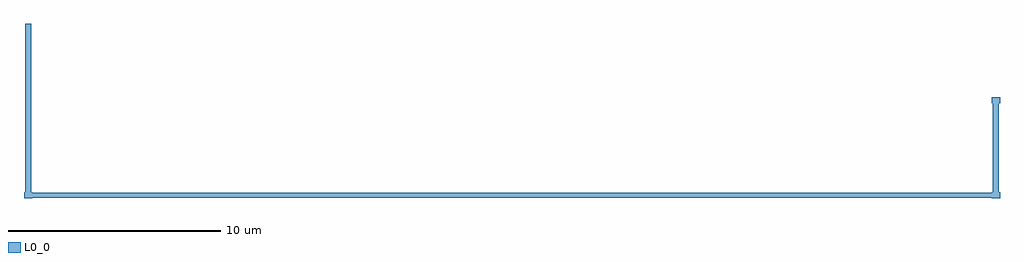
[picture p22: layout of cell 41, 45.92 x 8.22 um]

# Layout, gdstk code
import gdstk
lib = gdstk.Library(unit=1e-6, precision=1e-09)
def P(c, l, *ps):  # polygons
    for p in ps: c.add(gdstk.Polygon(p, *l))
L0_0 = (0, 0)

c_41 = lib.new_cell('41')
P(c_41, L0_0, [(1206.035,767.035),(1251.805,767.035),(1251.805,766.805),(1206.035,766.805),(1206.035,767.035)],
  [(1205.96,767.06),(1206.34,767.06),(1206.34,766.78),(1205.96,766.78),(1205.96,767.06)],
  [(1251.5,767.06),(1251.88,767.06),(1251.88,766.78),(1251.5,766.78),(1251.5,767.06)],
  [(1205.96,767.06),(1206.34,767.06),(1206.34,766.78),(1205.96,766.78),(1205.96,767.06)],
  [(1206.29,775),(1206.29,766.78),(1206.01,766.78),(1206.01,775),(1206.29,775)],
  [(1251.5,771.54),(1251.88,771.54),(1251.88,771.26),(1251.5,771.26),(1251.5,771.54)],
  [(1251.5,767.06),(1251.88,767.06),(1251.88,766.78),(1251.5,766.78),(1251.5,767.06)],
  [(1251.55,766.78),(1251.55,771.54),(1251.83,771.54),(1251.83,766.78),(1251.55,766.78)])

lib.write_gds('41.gds')
